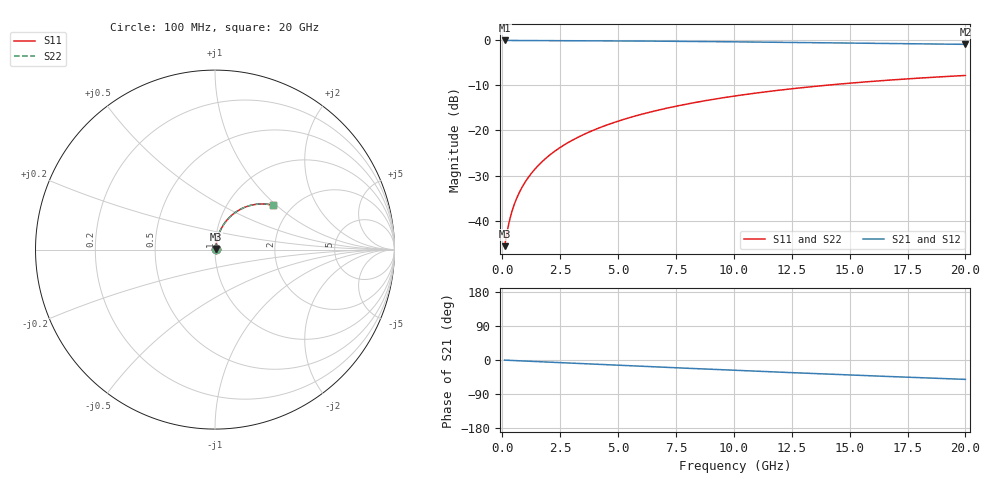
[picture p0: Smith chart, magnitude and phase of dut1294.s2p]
! Touchstone file exported from HFSS 2026.1.0
!  File:  C:/ffzhzh/LocalFiles/Ansys_Project_Files/temp_train_TMRDL_1294_1783164560_18472.aedt
!  Generated:  07:30:40 PM Jul  4, 2026
!  Design:  TMRDL
!  Project:  temp_train_TMRDL_1294_1783164560_18472
! Variables:
!  h_bsmrdl = 2um
!  h_ox = 20um
!  h_rdl = 5um
!  h_sub = 80um
!  h_tmrdl = 2.54um
!  h_tsv = 80um
!  h_via = 3um
!  l_bsmrdl = 300um
!  l_sub = 1184.69um
!  l_tmrdl = 784.69um
!  m_sub = 200um
!  pitch = 51.29um
!  r_tsv = 6um
!  s_tmrdl = 10um
!  w_bsmrdl = 18um
!  w_sub = 500um
!  w_tmrdl = 27.41um
!  x_tsv_center1 = 798.395um
!  x_tsv_center2 = 1116.395um
!  x_tsv_center3 = 1928.495um
!  x_tsv_center4 = 2246.495um
!  x_tsv_center5 = 3058.595um
!  x_tsv_center6 = 3376.595um
# GHz S MA R 50.000000
! Terminal data exported
! Port[1] = TM_RDL1_1_T1
! Port[2] = TM_RDL1_1_T2
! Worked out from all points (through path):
!   200 points, 100 MHz to 20 GHz, reference 50 ohm
!   highest |S21| = -0.04 dB at 100 MHz (marker M1); lowest = -0.9 dB at 20 GHz (marker M2)
!   group delay of S21, straight-line fit = 7.12 ps
!   lowest |S11| = -45.7 dB at 100 MHz (marker M3), VSWR 1.01, Z = 50.4 + j0.294 ohm
!   |S11| at or under -10 dB: start of sweep to 13.95 GHz
!   |S22| runs from -45.7 to -7.8 dB; largest |S21 - S12| = 2.6e-15
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0.1  0.005206 34.1  0.9957 -0.3  0.9957 -0.3  0.005206 34.1
! Gamma 0 0 0 0
! Port Impedance 50 0 50 0
0.2  0.007332 51.6  0.9955 -0.6  0.9955 -0.6  0.007332 51.6
0.3  0.009763 60.1  0.9952 -0.9  0.9952 -0.9  0.009763 60.1
0.4  0.01224 64.9  0.995 -1.2  0.995 -1.2  0.01224 64.9
0.5  0.01471 68.0  0.9947 -1.4  0.9947 -1.4  0.01471 68.0
0.6  0.01717 70.2  0.9945 -1.7  0.9945 -1.7  0.01717 70.2
0.8  0.0221 73.2  0.9942 -2.3  0.9942 -2.3  0.0221 73.2
1.1  0.02953 75.7  0.9938 -3.1  0.9938 -3.1  0.02953 75.7
1.3  0.03453 76.6  0.9936 -3.6  0.9936 -3.6  0.03453 76.6
1.6  0.04206 77.4  0.9932 -4.5  0.9932 -4.5  0.04206 77.4
2.1  0.05465 77.7  0.9925 -5.8  0.9925 -5.8  0.05465 77.8
2.7  0.06976 77.4  0.9913 -7.5  0.9913 -7.5  0.06976 77.4
3.5  0.08981 76.2  0.9895 -9.7  0.9895 -9.7  0.08981 76.2
4.2  0.1072 74.8  0.9876 -11.6  0.9876 -11.6  0.1072 74.8
5  0.1268 73.0  0.9849 -13.8  0.9849 -13.8  0.1268 73.1
5.9  0.1484 70.9  0.9816 -16.2  0.9816 -16.2  0.1484 71.0
6.8  0.1696 68.7  0.9778 -18.6  0.9778 -18.6  0.1696 68.8
8.3  0.2036 65.0  0.9707 -22.6  0.9707 -22.6  0.2036 65.1
10.1  0.2423 60.5  0.961 -27.3  0.961 -27.3  0.2423 60.6
13.4  0.3065 52.5  0.9415 -35.6  0.9415 -35.6  0.3065 52.5
16.7  0.3615 44.7  0.9211 -43.5  0.9211 -43.5  0.3615 44.8
20  0.4073 37.2  0.9015 -51.2  0.9015 -51.2  0.4073 37.3
